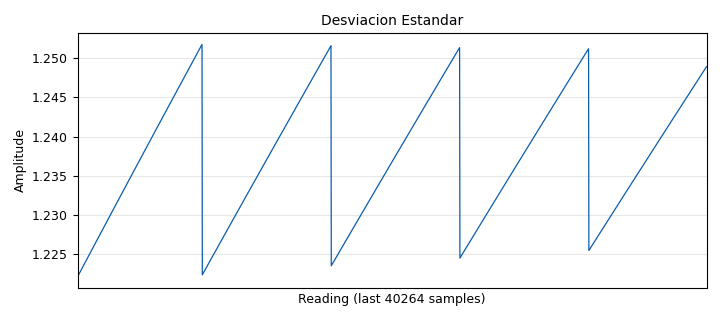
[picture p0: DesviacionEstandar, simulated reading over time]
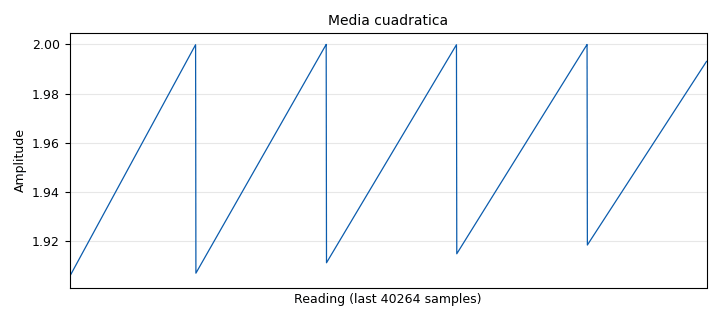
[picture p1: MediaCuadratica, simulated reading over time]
options:
  parameters:
    author: PaulaJavier
    generate_options: qt_gui
    id: Practica1
    output_language: python
    title: Not titled yet
  states: {}

blocks:
- name: samp_rate
  id: variable
  parameters:
    value: '32000'
  states: {}
- name: DesviacionEstandar
  id: qtgui_number_sink
  parameters:
    graph_type: qtgui.NUM_GRAPH_HORIZ
    name: Desviacion Estandar
    type: float
  states: {}
- name: MediaCuadratica
  id: qtgui_number_sink
  parameters:
    graph_type: qtgui.NUM_GRAPH_HORIZ
    name: Media cuadratica
    type: float
  states: {}
- name: PotenciaPromedio
  id: qtgui_number_sink
  parameters:
    graph_type: qtgui.NUM_GRAPH_HORIZ
    name: Potencia Promedio
    type: float
  states: {}
- name: RMS
  id: qtgui_number_sink
  parameters:
    graph_type: qtgui.NUM_GRAPH_HORIZ
    name: Valor RMS
    type: float
  states: {}
- name: blocks_vector_source_x_0
  id: blocks_vector_source_x
  parameters:
    repeat: 'True'
    type: float
    vector: (1, 2, -1)
  states: {}
- name: epy_block_0
  id: epy_block
  parameters:
    _source_code: |-
      import numpy as np
      from gnuradio import gr

      class blk(gr.sync_block):
          def __init__(self):  # Solo argumentos por defecto aquí
              gr.sync_block.__init__(
                  self,
                  name='Promedios_de_tiempos',  # Aparecerá en GRC
                  in_sig=[np.float32],
                  out_sig=[np.float32, np.float32, np.float32, np.float32, np.float32]
              )
              self.acum_anterior = 0
              self.Ntotales = 0
              self.acum_anterior1 = 0
              self.acum_anterior2 = 0
          
          def work(self, input_items, output_items):
              x = input_items[0]  # Señal de entrada
              y0 = output_items[0]  # Promedio de la señal
              y1 = output_items[1]  # Media cuadrática de la señal
              y2 = output_items[2]  # RMS de la señal
              y3 = output_items[3]  # Potencia promedio de la señal
              y4 = output_items[4]  # Desviación estándar de la señal
              
              # Cálculo del promedio
              N = len(x)
              self.Ntotales += N
              acumulado = self.acum_anterior + np.cumsum(x)
              self.acum_anterior = acumulado[-1]
              y0[:] = acumulado / self.Ntotales
              
              # Cálculo de la media cuadrática
              x2 = np.multiply(x, x)
              acumulado1 = self.acum_anterior1 + np.cumsum(x2)
              self.acum_anterior1 = acumulado1[-1]
              y1[:] = acumulado1 / self.Ntotales
              
              # Cálculo de la RMS
              y2[:] = np.sqrt(y1)
              
              # Cálculo de la potencia promedio
              y3[:] = np.multiply(y2, y2)
              
              # Cálculo de la desviación estándar
              x3 = np.multiply(x - y0, x - y0)
              acumulado2 = self.acum_anterior2 + np.cumsum(x3)
              self.acum_anterior2 = acumulado2[-1]
              y4[:] = np.sqrt(acumulado2 / self.Ntotales)
              
              return len(x)
  states: {}
- name: media
  id: qtgui_number_sink
  parameters:
    graph_type: qtgui.NUM_GRAPH_HORIZ
    name: Meda
    type: float
  states: {}

connections:
- [blocks_vector_source_x_0, '0', epy_block_0, '0']
- [epy_block_0, '0', media, '0']
- [epy_block_0, '1', MediaCuadratica, '0']
- [epy_block_0, '2', RMS, '0']
- [epy_block_0, '3', PotenciaPromedio, '0']
- [epy_block_0, '4', DesviacionEstandar, '0']

metadata:
  file_format: 1
  grc_version: v3.10.11.0-89-ga17f69e7
